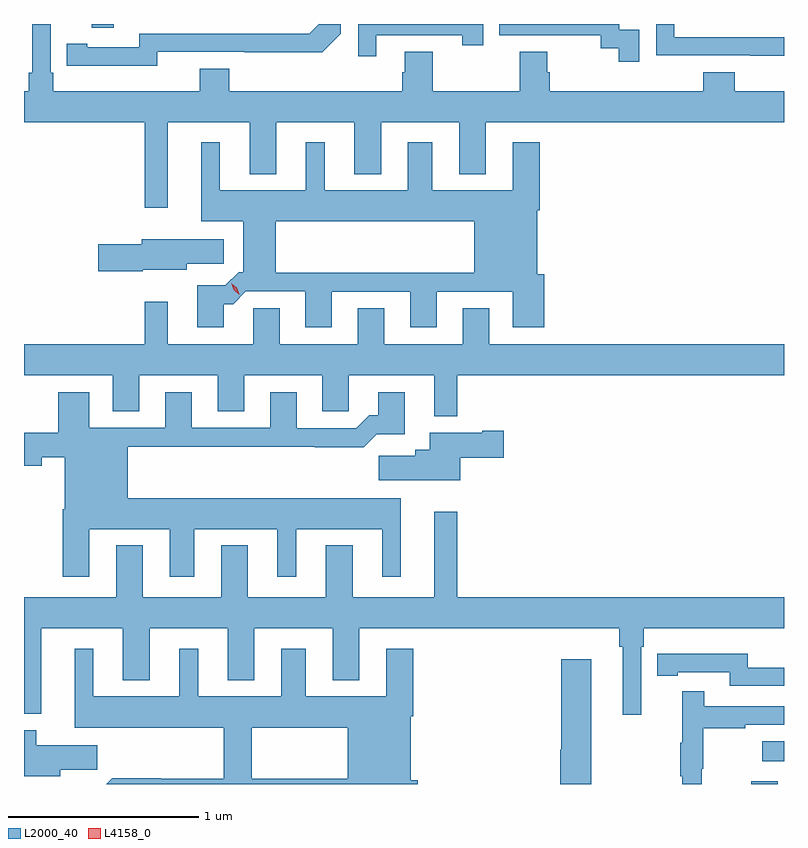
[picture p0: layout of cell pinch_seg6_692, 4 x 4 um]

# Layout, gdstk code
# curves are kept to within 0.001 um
import gdstk
lib = gdstk.Library(unit=1e-6, precision=1e-09)
def R(c, l, rs):  # rectangles x0, y0, x1, y1
    for r in rs: c.add(gdstk.rectangle(r[:2], r[2:], *l))
def P(c, l, *ps):  # polygons
    for p in ps: c.add(gdstk.Polygon(p, *l))
L2000_40 = (2000, 40)
L4158_0 = (4158, 0)

pinch_seg6_692 = lib.new_cell('pinch_seg6_692')
R(pinch_seg6_692, L2000_40, [(426.311,947.849,426.451,947.863), (426.369,947.969,426.484,948.073), (422.84,951.828,422.957,951.849)])
P(pinch_seg6_692, L2000_40, [(423.186,951.702),(424.054,951.701),(424.152,951.798),(424.152,951.849),(424.035,951.849),(423.984,951.798),(423.09,951.798),(423.09,951.726),(422.818,951.726),(422.818,951.746),(422.71,951.746),(422.71,951.63),(423.186,951.629)],
  [(426.484,951.78),(425.907,951.78),(425.907,951.849),(425.811,951.849),(425.811,951.684),(426.307,951.684),(426.307,951.683),(426.484,951.683)],
  [(424.339,951.789),(424.79,951.789),(424.79,951.738),(424.901,951.738),(424.901,951.849),(424.242,951.849),(424.242,951.678),(424.339,951.678)],
  [(423.241,951.332),(423.671,951.332),(423.671,951.059),(423.811,951.059),(423.811,951.332),(424.223,951.332),(424.223,951.059),(424.363,951.059),(424.363,951.332),(424.775,951.332),(424.775,951.059),(424.915,951.059),(424.915,951.332),(426.484,951.332),(426.484,951.496),(426.224,951.496),(426.224,951.595),(426.059,951.595),(426.059,951.496),(425.252,951.496),(425.252,951.594),(425.239,951.594),(425.239,951.704),(425.092,951.704),(425.092,951.496),(424.635,951.496),(424.635,951.704),(424.487,951.704),(424.487,951.594),(424.475,951.594),(424.475,951.496),(423.563,951.496),(423.563,951.613),(423.41,951.613),(423.41,951.496),(422.639,951.496),(422.639,951.592),(422.625,951.592),(422.625,951.849),(422.528,951.849),(422.528,951.592),(422.509,951.592),(422.509,951.496),(422.484,951.496),(422.484,951.332),(423.12,951.332),(423.12,950.883),(423.241,950.883)],
  [(425.721,951.819),(425.616,951.819),(425.616,951.849),(424.986,951.849),(424.986,951.789),(425.52,951.789),(425.52,951.721),(425.613,951.721),(425.613,951.651),(425.721,951.651)],
  [(423.395,950.473),(423.395,950.253),(423.535,950.253),(423.535,950.375),(423.584,950.375),(423.651,950.442),(423.965,950.442),(423.965,950.253),(424.105,950.253),(424.105,950.439),(424.517,950.439),(424.517,950.253),(424.657,950.253),(424.657,950.439),(425.057,950.439),(425.057,950.253),(425.222,950.253),(425.222,950.532),(425.185,950.532),(425.185,950.87),(425.198,950.87),(425.198,951.226),(425.057,951.226),(425.057,950.974),(424.633,950.974),(424.633,951.226),(424.505,951.226),(424.505,950.974),(424.066,950.974),(424.066,951.226),(423.968,951.226),(423.968,950.974),(423.514,950.974),(423.514,951.226),(423.416,951.226),(423.416,950.81),(423.638,950.81),(423.638,950.543),(423.614,950.543),(423.611,950.54),(423.809,950.54),(423.809,950.81),(424.853,950.81),(424.853,950.54),(423.611,950.54),(423.544,950.473)],
  [(423.108,950.555),(423.34,950.555),(423.34,950.587),(423.535,950.587),(423.535,950.716),(423.104,950.716),(423.104,950.69),(422.874,950.69),(422.874,950.548),(423.108,950.548)],
  [(424.765,950),(426.484,950),(426.484,950.164),(424.933,950.164),(424.933,950.354),(424.793,950.354),(424.793,950.164),(424.381,950.164),(424.381,950.354),(424.241,950.354),(424.241,950.164),(423.829,950.164),(423.829,950.354),(423.69,950.354),(423.69,950.164),(423.241,950.164),(423.241,950.386),(423.12,950.386),(423.12,950.164),(422.484,950.164),(422.484,950),(422.951,950),(422.951,949.81),(423.091,949.81),(423.091,950),(423.503,950),(423.503,949.81),(423.643,949.81),(423.643,950),(424.055,950),(424.055,949.81),(424.194,949.81),(424.194,950),(424.643,950),(424.643,949.784),(424.765,949.784)],
  [(422.827,949.19),(423.251,949.19),(423.251,948.939),(423.379,948.939),(423.379,949.19),(423.818,949.19),(423.818,948.939),(423.916,948.939),(423.916,949.19),(424.37,949.19),(424.37,948.939),(424.468,948.939),(424.468,949.354),(423.031,949.354),(423.031,949.624),(424.015,949.624),(424.015,949.622),(424.271,949.622),(424.34,949.691),(424.489,949.691),(424.489,949.912),(424.349,949.912),(424.349,949.789),(424.3,949.789),(424.233,949.722),(423.919,949.722),(423.919,949.912),(423.779,949.912),(423.779,949.725),(423.367,949.725),(423.367,949.912),(423.227,949.912),(423.227,949.725),(422.827,949.725),(422.827,949.912),(422.663,949.912),(422.663,949.699),(422.484,949.699),(422.484,949.523),(422.578,949.523),(422.578,949.57),(422.699,949.57),(422.699,949.294),(422.687,949.294),(422.687,948.939),(422.827,948.939)],
  [(424.78,949.565),(425.008,949.565),(425.008,949.707),(424.895,949.707),(424.895,949.699),(424.619,949.699),(424.619,949.609),(424.544,949.609),(424.544,949.577),(424.35,949.577),(424.35,949.448),(424.78,949.448)],
  [(425.733,948.572),(425.747,948.572),(425.747,948.668),(426.484,948.668),(426.484,948.832),(424.765,948.832),(424.765,949.282),(424.643,949.282),(424.643,948.832),(424.213,948.832),(424.213,949.105),(424.073,949.105),(424.073,948.832),(423.661,948.832),(423.661,949.105),(423.521,949.105),(423.521,948.832),(423.109,948.832),(423.109,949.105),(422.969,949.105),(422.969,948.832),(422.484,948.832),(422.484,948.219),(422.575,948.219),(422.575,948.668),(423.005,948.668),(423.005,948.395),(423.145,948.395),(423.145,948.668),(423.557,948.668),(423.557,948.395),(423.697,948.395),(423.697,948.668),(424.109,948.668),(424.109,948.395),(424.249,948.395),(424.249,948.668),(425.617,948.668),(425.617,948.572),(425.636,948.572),(425.636,948.213),(425.733,948.213)],
  [(423.203,947.879),(422.948,947.879),(422.918,947.849),(424.556,947.849),(424.556,947.868),(424.519,947.868),(424.519,948.206),(424.532,948.206),(424.532,948.562),(424.391,948.562),(424.391,948.31),(423.967,948.31),(423.967,948.562),(423.839,948.562),(423.839,948.31),(423.4,948.31),(423.4,948.562),(423.302,948.562),(423.302,948.31),(422.848,948.31),(422.848,948.562),(422.75,948.562),(422.75,948.146),(423.536,948.146),(423.536,947.876),(423.683,947.876),(423.683,948.146),(424.187,948.146),(424.187,947.876),(423.203,947.876)],
  [(426.484,948.462),(426.294,948.462),(426.294,948.535),(425.926,948.535),(425.926,948.534),(425.818,948.534),(425.818,948.418),(425.926,948.418),(425.926,948.438),(426.198,948.438),(426.198,948.366),(426.484,948.366)],
  [(425.47,948.505),(425.312,948.505),(425.312,948.03),(425.306,948.03),(425.306,947.849),(425.47,947.849)],
  [(426.05,947.928),(426.058,947.928),(426.058,948.142),(426.281,948.142),(426.281,948.162),(426.484,948.162),(426.484,948.258),(426.065,948.258),(426.065,948.337),(425.948,948.337),(425.948,948.065),(425.937,948.065),(425.937,947.891),(425.948,947.891),(425.948,947.849),(426.05,947.849)],
  [(422.674,947.923),(422.869,947.923),(422.869,948.052),(422.548,948.052),(422.548,948.133),(422.484,948.133),(422.484,947.891),(422.674,947.891)])
P(pinch_seg6_692, L4158_0, [(423.615,950.427),(423.588,950.45),(423.577,950.483),(423.577,950.484),(423.577,950.483),(423.604,950.461),(423.616,950.427),(423.616,950.427)])

lib.write_gds('pinch_seg6_692.gds')
